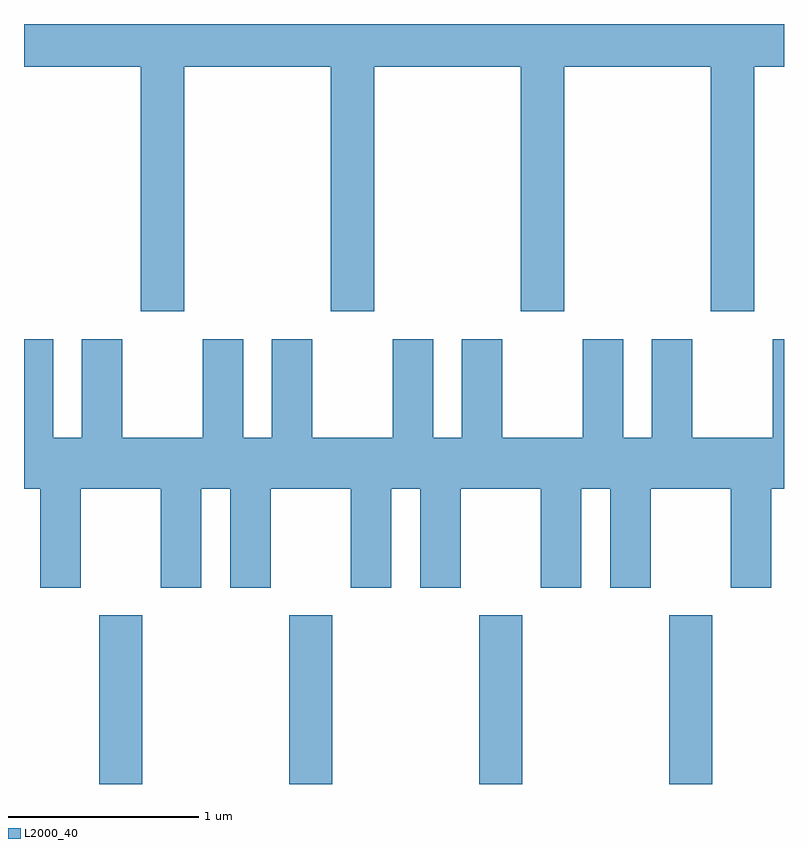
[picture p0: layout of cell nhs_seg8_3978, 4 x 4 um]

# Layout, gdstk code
import gdstk
lib = gdstk.Library(unit=1e-6, precision=1e-09)
def R(c, l, rs):  # rectangles x0, y0, x1, y1
    for r in rs: c.add(gdstk.rectangle(r[:2], r[2:], *l))
def A(c, l, x, y, w, h, nx, ny, dx, dy):  # array of equal rectangles
    R(c, l, [(x+i*dx, y+j*dy, x+i*dx+w, y+j*dy+h) for i in range(nx) for j in range(ny)])
def P(c, l, *ps):  # polygons
    for p in ps: c.add(gdstk.Polygon(p, *l))
L2000_40 = (2000, 40)

nhs_seg8_3978 = lib.new_cell('nhs_seg8_3978')
A(nhs_seg8_3978, L2000_40, 304.006, 1910.342, 0.228, 0.887, 4, 1, 1, 0)
P(nhs_seg8_3978, L2000_40, [(304.454,1914.116),(305.226,1914.116),(305.226,1912.831),(305.454,1912.831),(305.454,1914.116),(306.226,1914.116),(306.226,1912.831),(306.454,1912.831),(306.454,1914.116),(307.226,1914.116),(307.226,1912.831),(307.454,1912.831),(307.454,1914.116),(307.611,1914.116),(307.611,1914.342),(303.611,1914.342),(303.611,1914.116),(304.226,1914.116),(304.226,1912.831),(304.454,1912.831)],
  [(303.909,1911.896),(304.331,1911.896),(304.331,1911.376),(304.544,1911.376),(304.544,1911.896),(304.696,1911.896),(304.696,1911.376),(304.909,1911.376),(304.909,1911.896),(305.331,1911.896),(305.331,1911.376),(305.544,1911.376),(305.544,1911.896),(305.696,1911.896),(305.696,1911.376),(305.909,1911.376),(305.909,1911.896),(306.331,1911.896),(306.331,1911.376),(306.544,1911.376),(306.544,1911.896),(306.696,1911.896),(306.696,1911.376),(306.909,1911.376),(306.909,1911.896),(307.331,1911.896),(307.331,1911.376),(307.544,1911.376),(307.544,1911.896),(307.611,1911.896),(307.611,1912.684),(307.551,1912.684),(307.551,1912.164),(307.129,1912.164),(307.129,1912.684),(306.916,1912.684),(306.916,1912.164),(306.764,1912.164),(306.764,1912.684),(306.551,1912.684),(306.551,1912.164),(306.129,1912.164),(306.129,1912.684),(305.916,1912.684),(305.916,1912.164),(305.764,1912.164),(305.764,1912.684),(305.551,1912.684),(305.551,1912.164),(305.129,1912.164),(305.129,1912.684),(304.916,1912.684),(304.916,1912.164),(304.764,1912.164),(304.764,1912.684),(304.551,1912.684),(304.551,1912.164),(304.129,1912.164),(304.129,1912.684),(303.916,1912.684),(303.916,1912.164),(303.764,1912.164),(303.764,1912.684),(303.611,1912.684),(303.611,1911.896),(303.696,1911.896),(303.696,1911.376),(303.909,1911.376)])

lib.write_gds('nhs_seg8_3978.gds')
